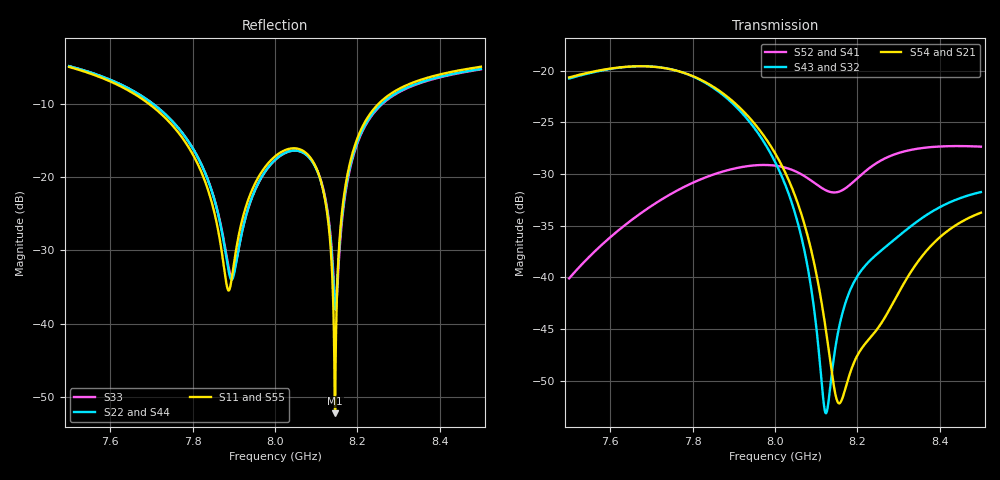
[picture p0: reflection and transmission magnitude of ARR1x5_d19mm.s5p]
! Touchstone file exported from HFSS 2025.1.0
!  File:  C:/Users/user/Documents/Ansoft/TFG_UWB-MIMO-Array.aedt
!  Generated:  09:03:16 PM Nov 21, 2026
!  Design:  ARR1x5_US3_PS4_2_1_dparam
!  Project:  TFG_UWB-MIMO-Array
!  Setup:  Setup_ch9
!  Solution:  Sweep_7p5_8p5
! Variables:
!  arr_d = 19mm
!  board_m = 13mm
!  board_x = 102mm
!  board_y = 26mm
!  cu_t = 0.035mm
!  line_w = 3.92mm
!  pad_xy = 22mm
!  pad_zn = 25mm
!  pad_zp = 33mm
!  par_L = 7.46mm
!  par_W = 10mm
!  par_yc = 0.75mm
!  par_z = 1.035mm
!  patch_L = 6.222mm
!  patch_W = 11.421266mm
!  sub_h = 2.07mm
!  tr_l = 6.6mm
!  tr_w = 0.8mm
!  u_Lu = 2.65mm
!  u_Wu = 4.4mm
!  u_t = 0.8mm
!  u_y0 = -0.7mm
# GHz S MA R 50.000000
! Terminal data exported
! Port[1] = P1
! Port[2] = P2
! Port[3] = P3
! Port[4] = P4
! Port[5] = P5
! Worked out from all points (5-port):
!   1001 points, 7.5 GHz to 8.5 GHz, reference 50 ohm
!   strongest paths, dB at 7.5 GHz, 7.75 GHz, 8 GHz, 8.25 GHz, 8.5 GHz:
!     S54: -20.6, -19.9, -28.0, -44.9, -33.7
!     S21: -20.6, -19.9, -28.0, -44.7, -33.7
!     S43: -20.7, -19.9, -28.8, -37.7, -31.7
!     S32: -20.7, -19.9, -28.8, -37.8, -31.8
!     S52: -40.1, -31.9, -29.2, -28.8, -27.3
!     S41: -40.1, -31.8, -29.2, -28.9, -27.4
!   lowest |S11| = -52.3 dB at 8.146 GHz (marker M1), VSWR 1.00, Z = 50.2 + j0.0693 ohm
!   |S11| at or under -10 dB: 7.694 GHz to 8.251 GHz (557.4 MHz wide, 6.99 % of centre)
